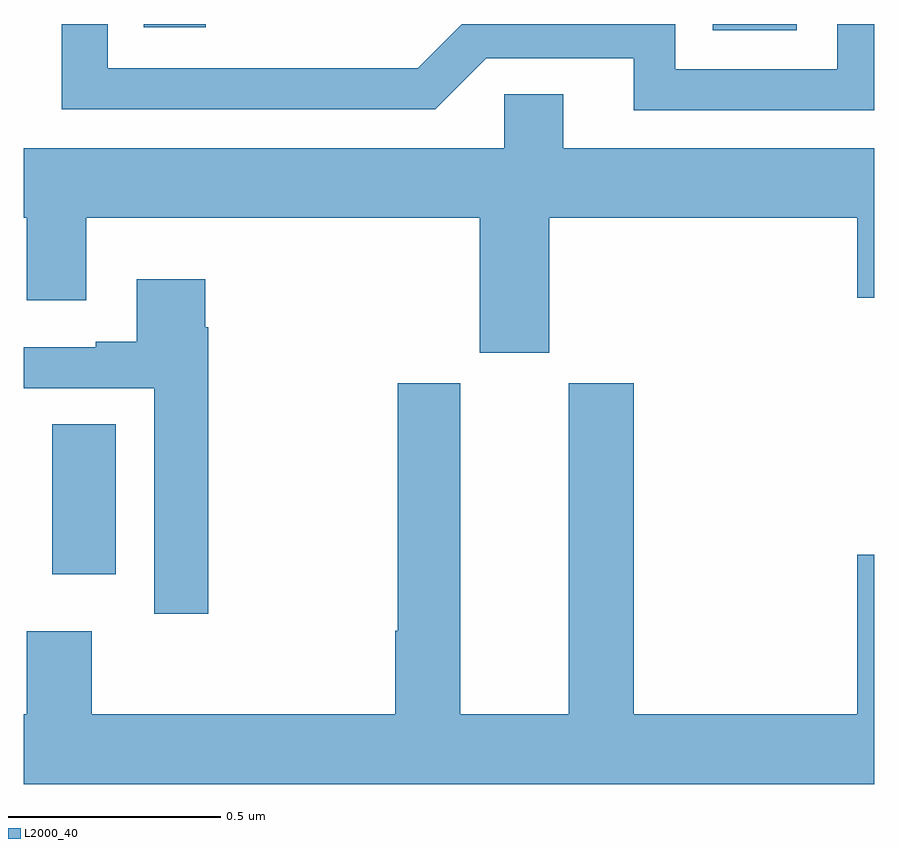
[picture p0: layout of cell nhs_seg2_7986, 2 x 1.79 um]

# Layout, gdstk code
import gdstk
lib = gdstk.Library(unit=1e-6, precision=1e-09)
def R(c, l, rs):  # rectangles x0, y0, x1, y1
    for r in rs: c.add(gdstk.rectangle(r[:2], r[2:], *l))
def P(c, l, *ps):  # polygons
    for p in ps: c.add(gdstk.Polygon(p, *l))
L2000_40 = (2000, 40)

nhs_seg2_7986 = lib.new_cell('nhs_seg2_7986')
R(nhs_seg2_7986, L2000_40, [(211.067,605.505,211.216,605.858), (212.62,606.785,212.818,606.8), (211.282,606.792,211.428,606.8)])
P(nhs_seg2_7986, L2000_40, [(213,606.8),(212.913,606.8),(212.913,606.693),(212.532,606.693),(212.532,606.8),(212.03,606.8),(211.926,606.696),(211.197,606.696),(211.197,606.8),(211.089,606.8),(211.089,606.6),(211.968,606.6),(212.088,606.72),(212.435,606.72),(212.435,606.597),(213,606.597)],
  [(212.236,606.344),(212.96,606.344),(212.96,606.156),(213,606.156),(213,606.508),(212.269,606.508),(212.269,606.635),(212.13,606.635),(212.13,606.508),(211,606.508),(211,606.344),(211.007,606.344),(211.007,606.15),(211.147,606.15),(211.147,606.344),(212.072,606.344),(212.072,606.027),(212.236,606.027)],
  [(211.434,606.086),(211.426,606.086),(211.426,606.199),(211.265,606.199),(211.265,606.052),(211.169,606.052),(211.169,606.039),(211,606.039),(211,605.943),(211.307,605.943),(211.307,605.412),(211.434,605.412)],
  [(213,605.551),(212.96,605.551),(212.96,605.176),(212.435,605.176),(212.435,605.955),(212.282,605.955),(212.282,605.176),(212.026,605.176),(212.026,605.955),(211.879,605.955),(211.879,605.372),(211.874,605.372),(211.874,605.176),(211.16,605.176),(211.16,605.371),(211.007,605.371),(211.007,605.176),(211,605.176),(211,605.012),(213,605.012)])

lib.write_gds('nhs_seg2_7986.gds')
